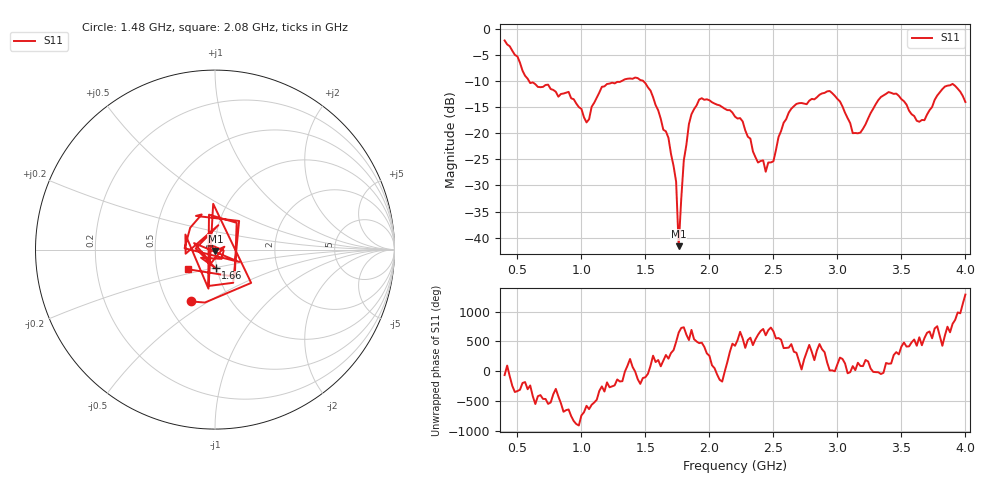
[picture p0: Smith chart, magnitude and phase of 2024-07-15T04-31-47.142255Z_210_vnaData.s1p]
!Created with skrf (http://scikit-rf.org).
# Hz S RI R 50.0
!freq ReS11 ImS11
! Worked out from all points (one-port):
!   181 points, 400 MHz to 4 GHz, reference 50 ohm
!   lowest |S11| = -41.6 dB at 1.76 GHz (marker M1), VSWR 1.02, Z = 50.3 - j0.793 ohm
!   |S11| at or under -10 dB: 589.9 MHz to 1.317 GHz (727.3 MHz wide, 76.3 % of centre); 1.482 GHz to end of sweep
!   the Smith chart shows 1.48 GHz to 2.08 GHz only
!   S11 on the Smith chart (normalised r, x): 1.48 GHz: 0.66, -0.42; 1.66 GHz: 0.99, -0.21; 2.08 GHz: 0.73, -0.17
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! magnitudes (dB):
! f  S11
! 400 MHz  -2.3
! 600 MHz  -10.4
! 860 MHz  -12.4
! 900 MHz  -12.1
! 1.04 GHz  -17.9
! 1.16 GHz  -11.1
! 1.3 GHz  -10.2
! 1.48 GHz  -10.0
! 1.66 GHz  -19.7
! 1.74 GHz  -29.3
! 1.76 GHz  -41.6
! 1.8 GHz  -25.2
! 1.86 GHz  -16.4
! 1.94 GHz  -13.3
! 2.08 GHz  -14.7
! 2.2 GHz  -16.8
! 2.26 GHz  -17.8
! 2.44 GHz  -27.4
! 2.66 GHz  -14.8
! 2.94 GHz  -11.9
! 3.1 GHz  -18.1
! 3.18 GHz  -19.9
! 3.4 GHz  -12.1
! 3.56 GHz  -15.7
! 3.68 GHz  -17.5
! 3.78 GHz  -12.8
! 3.9 GHz  -10.6
! 4 GHz  -14.0
